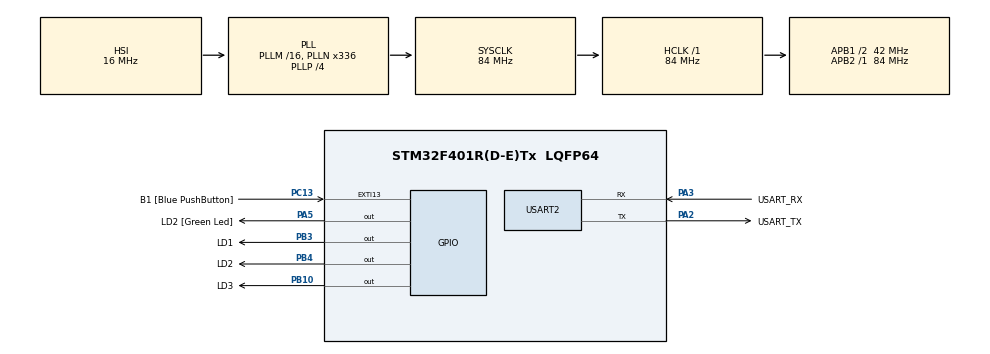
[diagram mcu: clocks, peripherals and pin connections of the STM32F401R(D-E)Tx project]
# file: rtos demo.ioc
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FREERTOS.INCLUDE_vTaskDelayUntil=1
FREERTOS.Mutexes01=Serial,Dynamic,NULL
FREERTOS.Tasks01=defaultTask,0,128,StartDefaultTask,Default,NULL,Dynamic,NULL,NULL;redLED,-3,128,redLEDfn,Default,NULL,Dynamic,NULL,NULL;greenLED,-3,128,greenLEDfn,Default,NULL,Dynamic,NULL,NULL;blueLED,-3,128,blueLEDfn,Default,NULL,Dynamic,NULL,NULL
Mcu.Family=STM32F4
Mcu.Name=STM32F401R(D-E)Tx
Mcu.Package=LQFP64
NVIC.PriorityGroup=NVIC_PRIORITYGROUP_4
NVIC.TIM1_UP_TIM10_IRQn=true\:0\:0\:false\:false\:true\:false\:false\:true
NVIC.TimeBase=TIM1_UP_TIM10_IRQn
NVIC.TimeBaseIP=TIM1
PA13.GPIO_Label=TMS
PA13.Mode=Serial_Wire
PA13.Signal=SYS_JTMS-SWDIO
PA14.GPIO_Label=TCK
PA14.Mode=Serial_Wire
PA14.Signal=SYS_JTCK-SWCLK
PA2.GPIO_Label=USART_TX
PA2.GPIO_Mode=GPIO_MODE_AF_PP
PA2.GPIO_PuPd=GPIO_NOPULL
PA2.GPIO_Speed=GPIO_SPEED_FREQ_LOW
PA2.Mode=Asynchronous
PA2.Signal=USART2_TX
PA3.GPIO_Label=USART_RX
PA3.GPIO_Mode=GPIO_MODE_AF_PP
PA3.GPIO_PuPd=GPIO_NOPULL
PA3.GPIO_Speed=GPIO_SPEED_FREQ_LOW
PA3.Mode=Asynchronous
PA3.Signal=USART2_RX
PA5.GPIO_Label=LD2 [Green Led]
PA5.GPIO_Mode=GPIO_MODE_OUTPUT_PP
PA5.GPIO_PuPd=GPIO_NOPULL
PA5.GPIO_Speed=GPIO_SPEED_FREQ_LOW
PA5.Signal=GPIO_Output
PB10.GPIO_Label=LD3
PB10.PinState=GPIO_PIN_SET
PB10.Signal=GPIO_Output
PB3.GPIO_Label=LD1
PB3.PinState=GPIO_PIN_SET
PB3.Signal=GPIO_Output
PB4.GPIO_Label=LD2
PB4.PinState=GPIO_PIN_SET
PB4.Signal=GPIO_Output
PC13-ANTI_TAMP.GPIO_Label=B1 [Blue PushButton]
PC13-ANTI_TAMP.GPIO_ModeDefaultEXTI=GPIO_MODE_IT_FALLING
PC13-ANTI_TAMP.GPIO_PuPd=GPIO_NOPULL
PC13-ANTI_TAMP.Signal=GPXTI13
PC14-OSC32_IN.Mode=LSE-External-Oscillator
PC14-OSC32_IN.Signal=RCC_OSC32_IN
PC15-OSC32_OUT.Mode=LSE-External-Oscillator
PC15-OSC32_OUT.Signal=RCC_OSC32_OUT
PH0\ -\ OSC_IN.Mode=HSE-External-Clock-Source
PH0\ -\ OSC_IN.Signal=RCC_OSC_IN
PH1\ -\ OSC_OUT.Mode=HSE-External-Clock-Source
PH1\ -\ OSC_OUT.Signal=RCC_OSC_OUT
ProjectManager.HeapSize=0x200
ProjectManager.StackSize=0x400
ProjectManager.TargetToolchain=STM32CubeIDE
RCC.48MHZClocksFreq_Value=48000000
RCC.AHBFreq_Value=84000000
RCC.APB1CLKDivider=RCC_HCLK_DIV2
RCC.APB1Freq_Value=42000000
RCC.APB1TimFreq_Value=84000000
RCC.APB2Freq_Value=84000000
RCC.APB2TimFreq_Value=84000000
RCC.CortexFreq_Value=84000000
RCC.HCLKFreq_Value=84000000
RCC.HSE_VALUE=8000000
RCC.HSI_VALUE=16000000
RCC.PLLN=336
RCC.PLLP=RCC_PLLP_DIV4
RCC.PLLQ=7
RCC.SYSCLKFreq_VALUE=84000000
RCC.SYSCLKSource=RCC_SYSCLKSOURCE_PLLCLK
RCC.VCOOutputFreq_Value=336000000
USART2.VirtualMode=VM_ASYNC
VP_FREERTOS_VS_CMSIS_V1.Mode=CMSIS_V1
VP_SYS_VS_tim1.Mode=TIM1
board=NUCLEO-F401RE

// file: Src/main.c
/* USER CODE BEGIN Header */
/**
  ******************************************************************************
  * @file           : main.c
  * @brief          : Main program body
  ******************************************************************************
  * @attention
  *
  * <h2><center>&copy; Copyright (c) 2019 STMicroelectronics.
  * All rights reserved.</center></h2>
  *
  * This software component is licensed by ST under BSD 3-Clause license,
  * the "License"; You may not use this file except in compliance with the
  * License. You may obtain a copy of the License at:
  *                        opensource.org/licenses/BSD-3-Clause
  *
  ******************************************************************************
  */
/* USER CODE END Header */

#include "main.h"
#include "cmsis_os.h"
#include "usart.h"
#include "gpio.h"

void SystemClock_Config(void);
void MX_FREERTOS_Init(void);

int main(void)
{

  /* MCU Configuration--------------------------------------------------------*/

  /* Reset of all peripherals, Initializes the Flash interface and the Systick. */
  HAL_Init();

  /* Configure the system clock */
  SystemClock_Config();

  /* Initialize all configured peripherals */
  MX_GPIO_Init();
  MX_USART2_UART_Init();

  /* Call init function for freertos objects (in freertos.c) */
  MX_FREERTOS_Init();

  /* Start scheduler */
  osKernelStart();

  /* We should never get here as control is now taken by the scheduler */

  /* Infinite loop */
  while (1)
  {

  }
}

void SystemClock_Config(void)
{
  RCC_OscInitTypeDef RCC_OscInitStruct = {0};
  RCC_ClkInitTypeDef RCC_ClkInitStruct = {0};

  /** Configure the main internal regulator output voltage
  */
  __HAL_RCC_PWR_CLK_ENABLE();
  __HAL_PWR_VOLTAGESCALING_CONFIG(PWR_REGULATOR_VOLTAGE_SCALE2);
  /** Initializes the CPU, AHB and APB busses clocks
  */
  RCC_OscInitStruct.OscillatorType = RCC_OSCILLATORTYPE_HSI;
  RCC_OscInitStruct.HSIState = RCC_HSI_ON;
  RCC_OscInitStruct.HSICalibrationValue = RCC_HSICALIBRATION_DEFAULT;
  RCC_OscInitStruct.PLL.PLLState = RCC_PLL_ON;
  RCC_OscInitStruct.PLL.PLLSource = RCC_PLLSOURCE_HSI;
  RCC_OscInitStruct.PLL.PLLM = 16;
  RCC_OscInitStruct.PLL.PLLN = 336;
  RCC_OscInitStruct.PLL.PLLP = RCC_PLLP_DIV4;
  RCC_OscInitStruct.PLL.PLLQ = 7;
  if (HAL_RCC_OscConfig(&RCC_OscInitStruct) != HAL_OK)
  {
    Error_Handler();
  }
  /** Initializes the CPU, AHB and APB busses clocks
  */
  RCC_ClkInitStruct.ClockType = RCC_CLOCKTYPE_HCLK|RCC_CLOCKTYPE_SYSCLK
                              |RCC_CLOCKTYPE_PCLK1|RCC_CLOCKTYPE_PCLK2;
  RCC_ClkInitStruct.SYSCLKSource = RCC_SYSCLKSOURCE_PLLCLK;
  RCC_ClkInitStruct.AHBCLKDivider = RCC_SYSCLK_DIV1;
  RCC_ClkInitStruct.APB1CLKDivider = RCC_HCLK_DIV2;
  RCC_ClkInitStruct.APB2CLKDivider = RCC_HCLK_DIV1;

  if (HAL_RCC_ClockConfig(&RCC_ClkInitStruct, FLASH_LATENCY_2) != HAL_OK)
  {
    Error_Handler();
  }
}

void HAL_TIM_PeriodElapsedCallback(TIM_HandleTypeDef *htim)
{
  if (htim->Instance == TIM1) {
    HAL_IncTick();
  }
}

void Error_Handler(void)
{
}

/************************ (C) COPYRIGHT STMicroelectronics *****END OF FILE****/

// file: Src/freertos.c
/* USER CODE BEGIN Header */
/**
  ******************************************************************************
  * File Name          : freertos.c
  * Description        : Code for freertos applications
  ******************************************************************************
  * @attention
  *
  * <h2><center>&copy; Copyright (c) 2019 STMicroelectronics.
  * All rights reserved.</center></h2>
  *
  * This software component is licensed by ST under Ultimate Liberty license
  * SLA0044, the "License"; You may not use this file except in compliance with
  * the License. You may obtain a copy of the License at:
  *                             www.st.com/SLA0044
  *
  ******************************************************************************
  */
/* USER CODE END Header */

#include "FreeRTOS.h"
#include "task.h"
#include "main.h"
#include "cmsis_os.h"

/* USER CODE BEGIN Includes */
#include "usart.h"
/* USER CODE END Includes */

osThreadId defaultTaskHandle;
osThreadId redLEDHandle;
osThreadId greenLEDHandle;
osThreadId blueLEDHandle;
osMutexId SerialHandle;

void StartDefaultTask(void const * argument);
void redLEDfn(void const * argument);
void greenLEDfn(void const * argument);
void blueLEDfn(void const * argument);

void MX_FREERTOS_Init(void); /* (MISRA C 2004 rule 8.1) */

/* GetIdleTaskMemory prototype (linked to static allocation support) */
void vApplicationGetIdleTaskMemory( StaticTask_t **ppxIdleTaskTCBBuffer, StackType_t **ppxIdleTaskStackBuffer, uint32_t *pulIdleTaskStackSize );

/* USER CODE BEGIN GET_IDLE_TASK_MEMORY */
static StaticTask_t xIdleTaskTCBBuffer;
static StackType_t xIdleStack[configMINIMAL_STACK_SIZE];

void vApplicationGetIdleTaskMemory( StaticTask_t **ppxIdleTaskTCBBuffer, StackType_t **ppxIdleTaskStackBuffer, uint32_t *pulIdleTaskStackSize )
{
  *ppxIdleTaskTCBBuffer = &xIdleTaskTCBBuffer;
  *ppxIdleTaskStackBuffer = &xIdleStack[0];
  *pulIdleTaskStackSize = configMINIMAL_STACK_SIZE;
  /* place for user code */
}
/* USER CODE END GET_IDLE_TASK_MEMORY */

void MX_FREERTOS_Init(void) {

  /* Create the mutex(es) */
  /* definition and creation of Serial */
  osMutexDef(Serial);
  SerialHandle = osMutexCreate(osMutex(Serial));

  /* Create the thread(s) */
  /* definition and creation of defaultTask */
  osThreadDef(defaultTask, StartDefaultTask, osPriorityNormal, 0, 128);
  defaultTaskHandle = osThreadCreate(osThread(defaultTask), NULL);

  /* definition and creation of redLED */
  osThreadDef(redLED, redLEDfn, osPriorityIdle, 0, 128);
  redLEDHandle = osThreadCreate(osThread(redLED), NULL);

  /* definition and creation of greenLED */
  osThreadDef(greenLED, greenLEDfn, osPriorityIdle, 0, 128);
  greenLEDHandle = osThreadCreate(osThread(greenLED), NULL);

  /* definition and creation of blueLED */
  osThreadDef(blueLED, blueLEDfn, osPriorityIdle, 0, 128);
  blueLEDHandle = osThreadCreate(osThread(blueLED), NULL);

}

void StartDefaultTask(void const * argument)
{

  for(;;)
  {
    osDelay(1);
  }
}

void redLEDfn(void const * argument)
{
  /* USER CODE BEGIN redLEDfn */
  /* Infinite loop */

	char buffer[64];
	int count;
	int i;
  for(;;)
  {
//	  HAL_GPIO_TogglePin(GPIOB, LD1_Pin);
	  if(osMutexWait(SerialHandle,osWaitForever) == osOK)
	  {
		  for(i=0;i<5;i++)
		 	  {
		 		  HAL_Delay(1000);
		 		  count=sprintf(buffer,"Red LED running\r\n");
		 		  HAL_UART_Transmit(&huart2,buffer,count,100);
		 	  }
		  osMutexRelease(SerialHandle);
	  }

	  osDelay(2000);
  }
  /* USER CODE END redLEDfn */
}

void greenLEDfn(void const * argument)
{
  /* USER CODE BEGIN greenLEDfn */
  /* Infinite loop */

	char buffer[64];
		int count;
		int i;
  for(;;)
  {
	  if(osMutexWait(SerialHandle,osWaitForever) == osOK)
	  {
		  count=sprintf(buffer,"Green LED running\r\n");
		  HAL_UART_Transmit(&huart2,buffer,count,100);
		  osMutexRelease(SerialHandle);
	  }
    osDelay(2000);
  }
  /* USER CODE END greenLEDfn */
}

void blueLEDfn(void const * argument)
{
  /* USER CODE BEGIN blueLEDfn */
  /* Infinite loop */

	char buffer[64];
		int count;
		int i;
  for(;;)
  {
	  if(osMutexWait(SerialHandle,osWaitForever) == osOK)
	  	  {
	  		  count=sprintf(buffer,"Blue LED running\r\n");
	  		  HAL_UART_Transmit(&huart2,buffer,count,100);
	  		  osMutexRelease(SerialHandle);
	  	  }
    osDelay(2000);
  }
  /* USER CODE END blueLEDfn */
}

/************************ (C) COPYRIGHT STMicroelectronics *****END OF FILE****/
